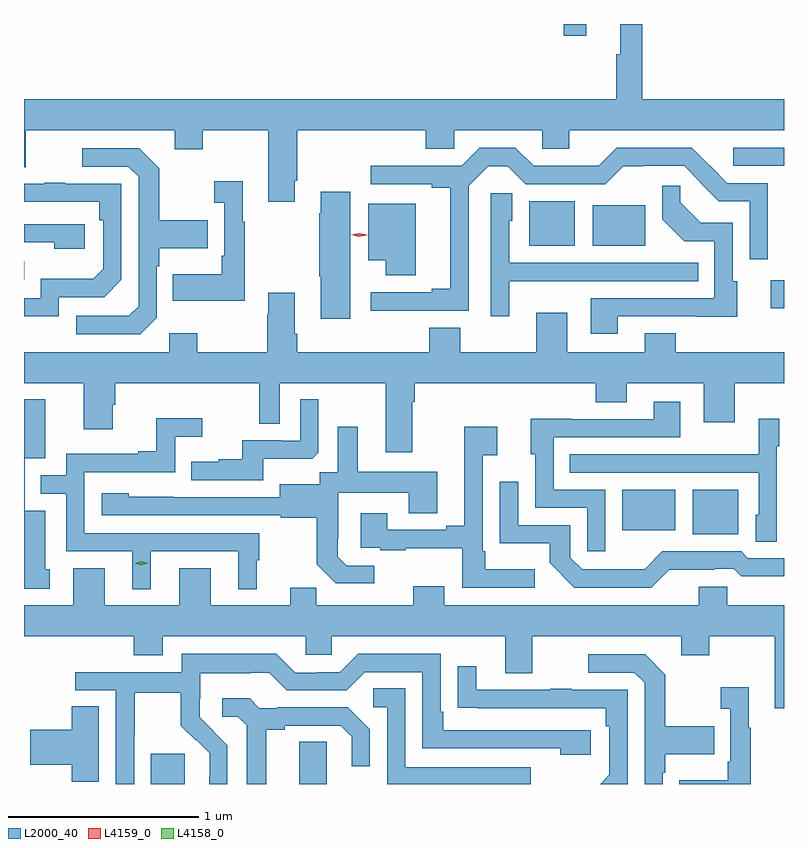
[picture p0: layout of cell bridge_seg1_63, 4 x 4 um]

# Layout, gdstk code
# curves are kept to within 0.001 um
import gdstk
lib = gdstk.Library(unit=1e-6, precision=1e-09)
def R(c, l, rs):  # rectangles x0, y0, x1, y1
    for r in rs: c.add(gdstk.rectangle(r[:2], r[2:], *l))
def P(c, l, *ps):  # polygons
    for p in ps: c.add(gdstk.Polygon(p, *l))
L2000_40 = (2000, 40)
L4158_0 = (4158, 0)
L4159_0 = (4159, 0)

bridge_seg1_63 = lib.new_cell('bridge_seg1_63')
R(bridge_seg1_63, L2000_40, [(592.451,540.299,592.63,540.459), (593.231,540.299,593.376,540.521), (595.304,541.613,595.543,541.849), (594.932,541.634,595.21,541.849), (595.713,542.802,595.783,542.95), (591.783,542.955,591.785,543.051), (594.443,543.131,594.682,543.367), (594.776,543.131,595.054,543.346), (595.515,543.552,595.783,543.648), (594.625,544.236,594.743,544.299)])
P(bridge_seg1_63, L2000_40, [(593.209,543.475),(593.222,543.475),(593.222,543.74),(593.897,543.74),(593.897,543.642),(594.048,543.642),(594.048,543.74),(594.51,543.74),(594.51,543.642),(594.652,543.642),(594.652,543.74),(595.783,543.74),(595.783,543.904),(595.037,543.904),(595.037,544.299),(594.92,544.299),(594.92,544.14),(594.901,544.14),(594.901,543.904),(591.783,543.904),(591.783,543.546),(591.793,543.546),(591.793,543.74),(592.577,543.74),(592.577,543.641),(592.725,543.641),(592.725,543.74),(593.069,543.74),(593.069,543.363),(593.209,543.363)],
  [(593.819,542.79),(594.123,542.79),(594.123,543.447),(594.227,543.551),(594.328,543.551),(594.423,543.456),(594.843,543.456),(594.938,543.551),(595.257,543.552),(595.347,543.462),(595.345,543.46),(595.439,543.366),(595.602,543.366),(595.602,543.06),(595.698,543.06),(595.698,543.462),(595.485,543.462),(595.297,543.648),(594.903,543.648),(594.809,543.554),(594.704,543.554),(594.704,543.552),(594.465,543.552),(594.369,543.648),(594.182,543.648),(594.086,543.552),(593.853,543.552),(593.853,543.554),(593.607,543.554),(593.607,543.456),(593.93,543.456),(593.93,543.436),(594.026,543.436),(594.026,542.906),(593.93,542.906),(593.93,542.886),(593.607,542.886),(593.607,542.789)],
  [(592.482,542.754),(592.482,543.023),(592.495,543.023),(592.495,543.119),(592.751,543.119),(592.751,543.267),(592.495,543.267),(592.495,543.539),(592.389,543.645),(592.089,543.645),(592.089,543.549),(592.332,543.549),(592.386,543.495),(592.386,542.814),(592.335,542.763),(592.059,542.763),(592.059,542.667),(592.395,542.667)],
  [(592.945,543.259),(592.933,543.259),(592.933,543.472),(592.785,543.472),(592.785,543.359),(592.836,543.359),(592.836,543.079),(592.824,543.079),(592.824,542.983),(592.567,542.983),(592.567,542.843),(592.945,542.843)],
  [(591.966,542.862),(592.206,542.862),(592.296,542.952),(592.296,543.459),(592.001,543.459),(592.001,543.464),(591.889,543.464),(591.889,543.459),(591.783,543.459),(591.783,543.363),(592.18,543.363),(592.18,543.266),(592.2,543.266),(592.2,543.012),(592.147,542.959),(591.87,542.959),(591.87,542.856),(591.783,542.856),(591.783,542.76),(591.966,542.76)],
  [(594.907,542.76),(595.537,542.759),(595.537,542.946),(595.512,542.946),(595.512,543.252),(595.346,543.252),(595.238,543.36),(595.238,543.448),(595.143,543.448),(595.143,543.272),(595.259,543.156),(595.416,543.156),(595.416,542.856),(594.767,542.856),(594.767,542.67),(594.907,542.67)],
  [(593.5,543.415),(593.345,543.415),(593.345,543.302),(593.338,543.302),(593.338,542.971),(593.345,542.971),(593.345,542.748),(593.5,542.748)],
  [(594.337,542.945),(594.671,542.945),(594.671,542.946),(595.331,542.946),(595.331,543.042),(594.336,543.042),(594.336,543.264),(594.352,543.264),(594.352,543.407),(594.24,543.407),(594.24,542.76),(594.337,542.76)],
  [(593.845,543.352),(593.594,543.352),(593.594,543.056),(593.687,543.056),(593.687,542.976),(593.845,542.976)],
  [(592.102,543.246),(591.783,543.246),(591.783,543.15),(591.941,543.15),(591.941,543.116),(592.102,543.116)],
  [(593.827,542.312),(593.84,542.312),(593.84,542.408),(594.791,542.408),(594.791,542.309),(594.955,542.309),(594.955,542.408),(595.361,542.408),(595.361,542.202),(595.525,542.202),(595.525,542.408),(595.783,542.408),(595.783,542.572),(595.213,542.572),(595.213,542.671),(595.049,542.671),(595.049,542.572),(594.643,542.572),(594.643,542.779),(594.479,542.779),(594.479,542.572),(594.079,542.572),(594.079,542.701),(593.915,542.701),(593.915,542.572),(593.222,542.572),(593.222,542.668),(593.209,542.668),(593.209,542.884),(593.069,542.884),(593.069,542.771),(593.062,542.771),(593.062,542.572),(592.695,542.572),(592.695,542.671),(592.548,542.671),(592.548,542.572),(591.783,542.572),(591.783,542.408),(592.097,542.408),(592.097,542.166),(592.249,542.166),(592.249,542.295),(592.262,542.295),(592.262,542.408),(593.022,542.408),(593.022,542.194),(593.13,542.194),(593.13,542.408),(593.687,542.408),(593.687,542.046),(593.827,542.046)],
  [(593.041,542.012),(593.299,542.012),(593.331,542.043),(593.331,542.323),(593.238,542.323),(593.238,542.106),(593.138,542.106),(593.138,542.109),(592.931,542.109),(592.931,542.008),(592.807,542.008),(592.807,541.996),(592.663,541.996),(592.663,541.899),(593.041,541.899)],
  [(591.919,541.428),(591.895,541.428),(591.895,541.737),(591.786,541.737),(591.786,542.013),(591.895,542.013),(591.895,542.323),(591.783,542.323),(591.783,541.326),(591.919,541.326)],
  [(594.843,541.848),(594.57,541.848),(594.57,542.124),(595.237,542.124),(595.237,542.311),(595.097,542.311),(595.097,542.22),(594.667,542.22),(594.667,542.222),(594.449,542.222),(594.449,542.034),(594.474,542.034),(594.474,541.752),(594.747,541.752),(594.747,541.524),(594.843,541.524)],
  [(592.45,541.524),(592.91,541.524),(592.91,541.325),(593.008,541.325),(593.008,541.476),(593.02,541.476),(593.02,541.62),(592.101,541.62),(592.101,541.941),(592.578,541.941),(592.578,542.126),(592.72,542.126),(592.72,542.225),(592.48,542.225),(592.48,542.05),(592.385,542.05),(592.385,542.037),(592.005,542.037),(592.005,541.923),(591.871,541.923),(591.871,541.827),(592.005,541.827),(592.005,541.524),(592.352,541.524),(592.352,541.325),(592.45,541.325)],
  [(595.746,542.076),(595.759,542.076),(595.759,542.221),(595.65,542.221),(595.65,542.035),(595.333,542.035),(595.333,542.034),(594.655,542.034),(594.655,541.938),(595.65,541.938),(595.65,541.716),(595.634,541.716),(595.634,541.573),(595.746,541.573)],
  [(593.626,541.449),(593.481,541.449),(593.434,541.496),(593.434,541.591),(593.436,541.591),(593.436,541.832),(593.807,541.832),(593.807,541.723),(593.959,541.723),(593.959,541.942),(593.539,541.942),(593.539,542.179),(593.435,542.179),(593.435,541.94),(593.34,541.94),(593.34,541.876),(593.129,541.876),(593.129,541.809),(592.335,541.81),(592.335,541.828),(592.191,541.828),(592.191,541.713),(593.133,541.713),(593.133,541.701),(593.325,541.701),(593.325,541.455),(593.425,541.355),(593.626,541.355)],
  [(594.472,541.429),(594.211,541.429),(594.211,541.525),(594.198,541.525),(594.198,542.03),(594.274,542.03),(594.274,542.179),(594.101,542.179),(594.101,541.657),(594.005,541.657),(594.005,541.638),(593.695,541.638),(593.695,541.723),(593.555,541.723),(593.555,541.542),(593.659,541.542),(593.659,541.53),(593.791,541.53),(593.791,541.541),(594.09,541.541),(594.09,541.332),(594.472,541.332)],
  [(595.178,541.427),(595.418,541.427),(595.418,541.431),(595.518,541.431),(595.558,541.392),(595.783,541.392),(595.783,541.488),(595.593,541.488),(595.557,541.524),(595.143,541.524),(595.049,541.43),(594.944,541.43),(594.944,541.428),(594.72,541.428),(594.657,541.491),(594.657,541.662),(594.384,541.662),(594.384,541.891),(594.288,541.891),(594.288,541.565),(594.55,541.565),(594.55,541.463),(594.68,541.332),(595.083,541.332)],
  [(595.783,541.24),(595.485,541.24),(595.485,541.338),(595.334,541.338),(595.334,541.24),(593.995,541.24),(593.995,541.339),(593.831,541.339),(593.831,541.24),(593.321,541.24),(593.321,541.331),(593.183,541.331),(593.183,541.24),(592.765,541.24),(592.765,541.435),(592.601,541.435),(592.601,541.24),(592.207,541.24),(592.207,541.435),(592.043,541.435),(592.043,541.24),(591.783,541.24),(591.783,541.076),(592.361,541.076),(592.361,540.977),(592.513,540.977),(592.513,541.076),(593.265,541.076),(593.265,540.978),(593.403,540.978),(593.403,541.076),(594.317,541.076),(594.317,540.882),(594.457,540.882),(594.457,541.076),(595.241,541.076),(595.241,540.977),(595.389,540.977),(595.389,541.076),(595.733,541.076),(595.733,540.699),(595.783,540.699)],
  [(592.362,540.556),(592.365,540.556),(592.365,540.78),(592.609,540.78),(592.609,540.605),(592.686,540.528),(592.689,540.531),(592.76,540.461),(592.76,540.338),(592.758,540.338),(592.758,540.299),(592.854,540.299),(592.854,540.502),(592.708,540.65),(592.708,540.747),(592.71,540.747),(592.71,540.881),(592.973,540.881),(592.973,540.885),(593.073,540.885),(593.166,540.792),(593.481,540.792),(593.577,540.888),(593.88,540.888),(593.88,540.486),(594.605,540.486),(594.605,540.452),(594.766,540.452),(594.766,540.582),(593.989,540.582),(593.989,540.679),(593.976,540.679),(593.976,540.984),(593.541,540.984),(593.445,540.888),(593.327,540.888),(593.327,540.885),(593.211,540.885),(593.111,540.985),(592.614,540.985),(592.614,540.888),(592.053,540.888),(592.053,540.792),(592.266,540.792),(592.266,540.299),(592.362,540.299)],
  [(595.146,540.359),(595.159,540.359),(595.159,540.455),(595.415,540.455),(595.415,540.603),(595.159,540.603),(595.159,540.875),(595.053,540.981),(594.753,540.981),(594.753,540.885),(594.996,540.885),(595.05,540.831),(595.05,540.299),(595.146,540.299)],
  [(594.96,540.795),(594.665,540.795),(594.665,540.8),(594.553,540.8),(594.553,540.795),(594.163,540.795),(594.163,540.919),(594.067,540.919),(594.067,540.7),(594.844,540.699),(594.844,540.602),(594.864,540.602),(594.864,540.348),(594.815,540.299),(594.96,540.299)],
  [(595.609,540.595),(595.597,540.595),(595.597,540.808),(595.449,540.808),(595.449,540.695),(595.5,540.695),(595.5,540.415),(595.488,540.415),(595.488,540.319),(595.231,540.319),(595.231,540.299),(595.609,540.299)],
  [(594.449,540.387),(593.79,540.387),(593.79,540.803),(593.622,540.803),(593.622,540.702),(593.694,540.702),(593.694,540.299),(594.449,540.299)],
  [(593.059,540.584),(593.155,540.584),(593.155,540.606),(593.45,540.606),(593.507,540.549),(593.507,540.393),(593.604,540.393),(593.604,540.586),(593.488,540.702),(593.116,540.702),(593.116,540.699),(593.022,540.699),(592.97,540.751),(592.827,540.751),(592.827,540.654),(592.908,540.654),(592.955,540.607),(592.955,540.299),(593.059,540.299)],
  [(592.177,540.707),(592.034,540.707),(592.034,540.584),(591.816,540.584),(591.816,540.401),(592.034,540.401),(592.034,540.31),(592.177,540.31)])
P(bridge_seg1_63, L4158_0, [(592.401,541.451),(592.365,541.46),(592.365,541.461),(592.365,541.461),(592.401,541.471),(592.437,541.461),(592.437,541.461),(592.437,541.46)])
P(bridge_seg1_63, L4159_0, [(593.546,543.179),(593.506,543.189),(593.506,543.189),(593.506,543.19),(593.547,543.199),(593.587,543.189),(593.588,543.189),(593.587,543.188)])

lib.write_gds('bridge_seg1_63.gds')
